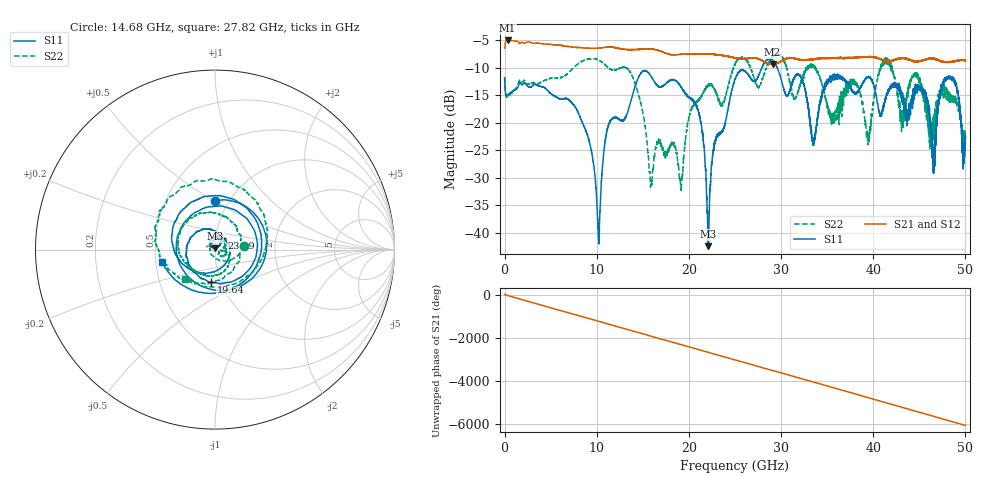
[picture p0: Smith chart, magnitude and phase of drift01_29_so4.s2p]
!Created with skrf (http://scikit-rf.org).
# Hz S RI R 50.0
!freq ReS11 ImS11 ReS21 ImS21 ReS12 ImS12 ReS22 ImS22
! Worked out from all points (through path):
!   10001 points, 300 kHz to 50 GHz, reference 50 ohm
!   highest |S21| = -5.05 dB at 325.3 MHz (marker M1); lowest = -9.4 dB at 29.08 GHz (marker M2)
!   group delay of S21, straight-line fit = 336 ps
!   lowest |S11| = -42.4 dB at 22.09 GHz (marker M3), VSWR 1.02, Z = 49.9 + j0.755 ohm
!   |S11| at or under -10 dB: start of sweep to 27.91 GHz; 29.58 GHz to end of sweep
!   |S22| runs from -32.3 to -7.5 dB; largest |S21 - S12| = 0.011
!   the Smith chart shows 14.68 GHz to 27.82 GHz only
!   S11 on the Smith chart (normalised r, x): 14.68 GHz: 0.86, +0.51; 19.64 GHz: 0.90, -0.34; 23.19 GHz: 1.07, +0.14; 27.82 GHz: 0.54, -0.08
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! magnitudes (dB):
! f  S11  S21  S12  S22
! 300 kHz  -11.9  -6.4  -6.5  -11.7
! 325.3 MHz  -15.0  -5.1  -5.1  -15.3
! 8.335 GHz  -19.6  -6.4  -6.4  -8.9
! 10.2 GHz  -41.0  -6.4  -6.4  -8.6
! 11.23 GHz  -20.6  -6.3  -6.3  -10.0
! 14.68 GHz  -11.3  -6.7  -6.6  -15.8
! 15.88 GHz  -11.5  -6.6  -6.6  -30.9
! 16.67 GHz  -13.4  -6.9  -6.9  -23.2
! 19.64 GHz  -14.7  -7.5  -7.5  -22.9
! 21.23 GHz  -19.4  -7.5  -7.5  -15.5
! 22.09 GHz  -42.4  -7.5  -7.5  -13.3
! 23.19 GHz  -22.4  -7.7  -7.7  -15.8
! 25 GHz  -12.1  -8.2  -8.3  -9.5
! 27.82 GHz  -10.4  -8.6  -8.6  -12.7
! 29.08 GHz  -8.6  -9.4  -9.4  -8.0
! 33.34 GHz  -22.6  -8.5  -8.4  -9.5
! 39.47 GHz  -11.6  -8.0  -8.0  -22.2
! 41.67 GHz  -13.8  -8.8  -8.7  -8.9
! 45.36 GHz  -13.6  -8.7  -8.7  -14.3
! 46.56 GHz  -26.3  -8.3  -8.3  -21.0
! 48.52 GHz  -11.8  -8.9  -8.9  -15.2
! 50 GHz  -23.0  -8.7  -8.7  -23.0
